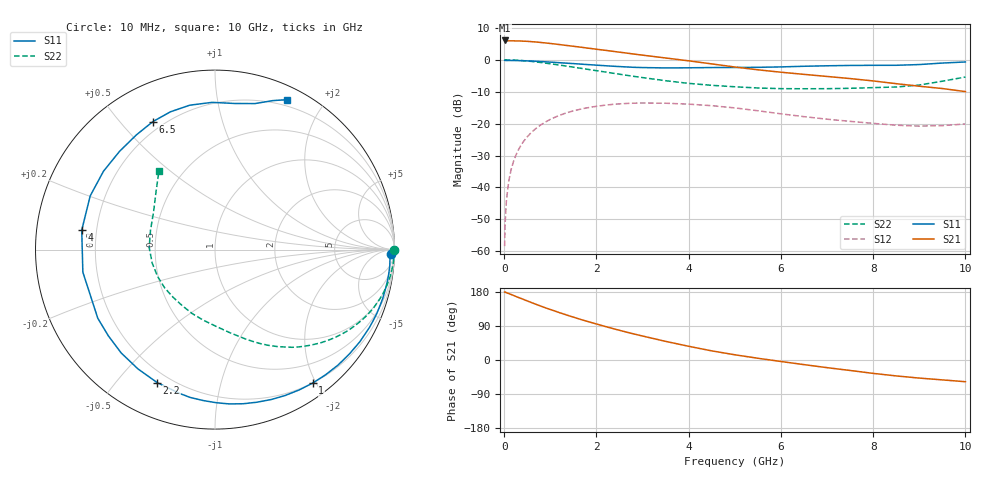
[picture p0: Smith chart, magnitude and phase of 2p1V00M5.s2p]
! (c) 2009  Infineon Technologies AG, Munich
! Infineon Technologies  Discrete & RF Semiconductors
! BFP420
! VCE =  1.0 V,  IC =  0.5 mA
! Common Emitter S-Parameters:  Nov 2009
# GHz  S  MA  R  50
!  f  S11  S21  S12  S22
! GHz  MAG  ANG  MAG  ANG  MAG  ANG  MAG  ANG
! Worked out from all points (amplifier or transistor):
!   46 points, 10 MHz to 10 GHz, reference 50 ohm
!   highest |S21| = 6.1 dB at 10 MHz (marker M1)
!   |S21| within 3 dB of that: start of sweep to 2.14 GHz
!   unconditionally stable (mu >= 1): 4.398 GHz to end of sweep
!   at 300 MHz: K = 0.03, MSG = 17.2 dB, |S12| = -28.5 dB
!   at 1.7 GHz: K = 0.31, MSG = 9.6 dB, |S12| = -15.3 dB
!   at 10 GHz: K = 1.55, MAG = 0.7 dB, |S12| = -20.1 dB
!   lowest NFmin = 0.68 dB at 900 MHz
!   S11 on the Smith chart (normalised r, x): 10 MHz: 35, -54; 1 GHz: 0.20, -1.96; 2.2 GHz: 0.15, -0.65; 4 GHz: 0.14, +0.07; 6.5 GHz: 0.16, +0.61; 10 GHz: 0.13, +1.58
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0.01  0.9833 -1.5  2.013 179.4  0.0012 84.7  0.9981 -0.2
0.02  0.9795 -1.0  1.963 179.6  0.0026 88.8  0.9978 -0.6
0.05  0.9763 -2.7  1.975 177.5  0.0064 87.3  0.9978 -1.7
0.1  0.978 -5.4  1.986 175.4  0.0126 87.2  0.9968 -3.4
0.15  0.9774 -8.1  1.988 172.9  0.0189 84.9  0.9946 -5.1
0.2  0.9766 -10.7  1.987 170.5  0.0252 83.1  0.9916 -6.8
0.35  0.971 -18.8  1.976 163.2  0.0439 77.8  0.9781 -11.8
0.5  0.9634 -26.9  1.949 155.9  0.0621 72.3  0.9584 -16.7
0.7  0.9481 -37.8  1.902 146.5  0.0853 65.0  0.9257 -22.9
1  0.9215 -53.8  1.806 133.3  0.1166 54.7  0.8678 -31.3
1.4  0.8819 -74.6  1.666 116.9  0.1511 41.8  0.7877 -41.1
1.7  0.853 -89.6  1.567 105.6  0.1715 32.8  0.7303 -47.6
2.2  0.808 -113.5  1.408 88.2  0.1952 19.1  0.6428 -57.2
2.8  0.7642 -141.0  1.235 69.1  0.2091 3.8  0.5525 -67.7
3.5  0.7469 -170.3  1.069 49.2  0.2089 -11.6  0.4706 -79.8
4  0.7503 171.7  0.965 36.2  0.2021 -20.8  0.4277 -89.2
4.5  0.757 156.7  0.864 24.1  0.1912 -29.3  0.3986 -99.4
5.5  0.7632 134.2  0.698 4.6  0.1592 -42.0  0.3619 -120.2
6.5  0.7927 115.9  0.592 -12.2  0.1287 -47.7  0.3522 -142.9
7  0.8069 107.9  0.549 -20.2  0.1174 -48.1  0.3531 -154.8
8.5  0.8216 82.2  0.423 -42.0  0.0944 -43.6  0.3751 163.4
10  0.9262 64.4  0.318 -57.3  0.0989 -30.9  0.538 125.5
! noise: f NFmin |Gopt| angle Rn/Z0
0.9  0.68  0.78  35  0.65
1.8  1.42  0.6  75  0.5
2.4  1.57  0.58  98  0.37
3  2.1  0.58  128  0.24
4  2.49  0.57  177  0.09
